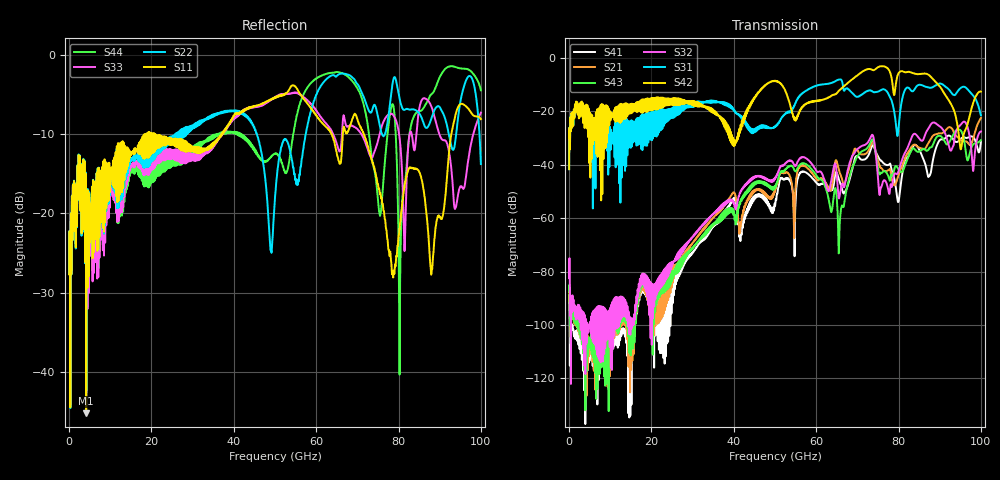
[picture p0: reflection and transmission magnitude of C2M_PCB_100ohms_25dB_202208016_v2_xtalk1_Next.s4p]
! Info: Touchstone file created by Circ.  Input file=Intel_C2M_200G_10p5in_202208016_staggered.circ
# Hz S RI R 50
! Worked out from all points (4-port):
!   10000 points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, 10 MHz to 100 GHz, reference 50 ohm
!   strongest paths, dB at 10 MHz, 25.01 GHz, 50.01 GHz, 75.01 GHz, 100 GHz:
!     S42: -41.6, -15.2, -8.7, -3.4, -12.6
!     S31: -41.7, -18.8, -25.7, -12.5, -21.4
!     S32: -82.4, -76.7, -45.4, -44.9, -27.5
!     S43: -86.8, -79.9, -48.3, -41.3, -30.8
!     S21: -87.1, -77.7, -50.1, -38.4, -22.5
!     S41: -88.8, -79.1, -55.3, -36.8, -31.5
!   lowest |S11| = -45.1 dB at 4.16 GHz (marker M1), VSWR 1.01, Z = 49.5 - j0.313 ohm
!   |S11| at or under -10 dB: start of sweep to 18.68 GHz; 20.95 GHz to 37.13 GHz (16.18 GHz wide, 55.7 % of centre); 71.54 GHz to 92.83 GHz (21.29 GHz wide, 25.9 % of centre)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
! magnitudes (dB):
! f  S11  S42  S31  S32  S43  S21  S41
! 10 MHz  -27.6  -41.6  -41.7  -82.4  -86.8  -87.1  -88.8
! 4.16 GHz  -45.1  -17.9  -19.7  -100.1  -106.1  -104.3  -110.0
! 40.17 GHz  -7.5  -31.5  -19.6  -55.6  -60.2  -50.5  -52.6
! 73.49 GHz  -13.2  -4.3  -12.3  -28.9  -30.6  -31.7  -33.2
! 76.17 GHz  -18.8  -3.0  -11.7  -46.5  -42.6  -41.9  -39.1
! 95.19 GHz  -6.2  -34.0  -11.1  -24.8  -27.3  -30.8  -30.1
! 100 GHz  -8.1  -12.6  -21.4  -27.5  -30.8  -22.5  -31.5
